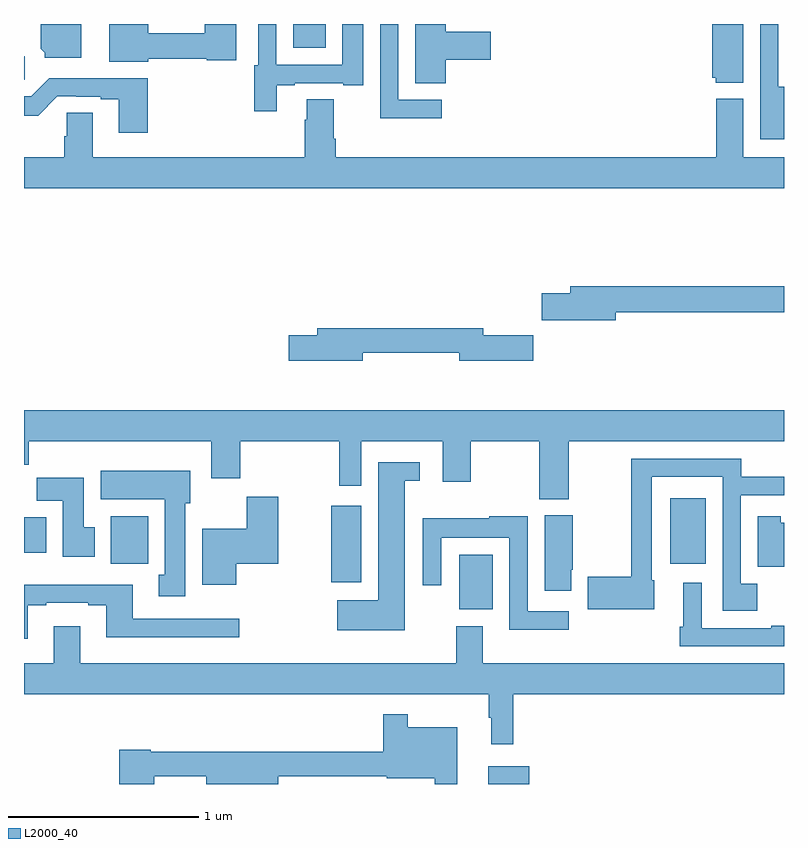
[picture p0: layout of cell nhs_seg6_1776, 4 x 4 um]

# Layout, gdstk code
import gdstk
lib = gdstk.Library(unit=1e-6, precision=1e-09)
def R(c, l, rs):  # rectangles x0, y0, x1, y1
    for r in rs: c.add(gdstk.rectangle(r[:2], r[2:], *l))
def P(c, l, *ps):  # polygons
    for p in ps: c.add(gdstk.Polygon(p, *l))
L2000_40 = (2000, 40)

nhs_seg6_1776 = lib.new_cell('nhs_seg6_1776')
R(nhs_seg6_1776, L2000_40, [(219.443,977.5,219.658,977.593), (219.29,978.419,219.466,978.706), (218.618,978.561,218.776,978.964), (220.4,978.659,220.588,979.003), (217.457,978.66,217.653,978.91), (217,978.716,217.117,978.904), (217,981.207,217.004,981.33), (218.417,981.374,218.587,981.5)])
P(nhs_seg6_1776, L2000_40, [(219.221,981.311),(219.457,981.311),(219.457,981.458),(219.221,981.458),(219.221,981.5),(219.059,981.5),(219.059,981.187),(219.221,981.187)],
  [(218.329,981.177),(218.425,981.177),(218.425,981.189),(218.681,981.189),(218.681,981.177),(218.785,981.177),(218.785,981.5),(218.675,981.5),(218.675,981.285),(218.328,981.285),(218.328,981.5),(218.232,981.5),(218.232,981.282),(218.212,981.282),(218.212,981.042),(218.329,981.042)],
  [(219.199,981.102),(218.97,981.102),(218.97,981.5),(218.874,981.5),(218.874,981.005),(219.199,981.005)],
  [(217.654,981.316),(217.962,981.316),(217.962,981.308),(218.116,981.308),(218.116,981.5),(217.951,981.5),(217.951,981.452),(217.654,981.452),(217.654,981.5),(217.448,981.5),(217.448,981.302),(217.654,981.302)],
  [(220.786,981.5),(220.622,981.5),(220.622,981.216),(220.641,981.216),(220.641,981.191),(220.786,981.191)],
  [(221,981.171),(220.971,981.171),(220.971,981.5),(220.875,981.5),(220.875,980.894),(221,980.894)],
  [(217.3,981.5),(217.088,981.5),(217.088,981.37),(217.11,981.348),(217.11,981.323),(217.3,981.323)],
  [(217.652,981.214),(217.132,981.214),(217.038,981.12),(217,981.12),(217,981.018),(217.074,981.018),(217.176,981.12),(217.276,981.12),(217.276,981.117),(217.403,981.117),(217.403,981.105),(217.499,981.105),(217.499,980.928),(217.652,980.928)],
  [(221,980.8),(220.786,980.8),(220.786,981.106),(220.643,981.106),(220.643,980.8),(218.642,980.8),(218.642,980.896),(218.629,980.896),(218.629,981.104),(218.489,981.104),(218.489,980.996),(218.477,980.996),(218.477,980.8),(217.363,980.8),(217.363,981.032),(217.224,981.032),(217.224,980.91),(217.211,980.91),(217.211,980.8),(217,980.8),(217,980.636),(221,980.636)],
  [(220.114,979.984),(221,979.984),(221,980.12),(219.875,980.12),(219.875,980.084),(219.726,980.084),(219.726,979.942),(220.114,979.942)],
  [(218.782,979.77),(219.29,979.77),(219.29,979.727),(219.679,979.727),(219.679,979.862),(219.418,979.862),(219.418,979.898),(218.543,979.898),(218.543,979.862),(218.394,979.862),(218.394,979.727),(218.782,979.727)],
  [(219.867,979.304),(221,979.304),(221,979.468),(217,979.468),(217,979.18),(217.025,979.18),(217.025,979.304),(217.985,979.304),(217.985,979.11),(218.138,979.11),(218.138,979.304),(218.658,979.304),(218.658,979.071),(218.776,979.071),(218.776,979.304),(219.203,979.304),(219.203,979.092),(219.351,979.092),(219.351,979.304),(219.712,979.304),(219.712,979),(219.867,979)],
  [(220.858,978.553),(220.773,978.553),(220.773,979.02),(221,979.02),(221,979.118),(220.776,979.118),(220.776,979.212),(220.197,979.212),(220.197,978.59),(219.966,978.59),(219.966,978.419),(220.318,978.419),(220.318,978.573),(220.305,978.573),(220.305,979.116),(220.677,979.116),(220.677,978.413),(220.858,978.413)],
  [(219.004,979.097),(219.082,979.097),(219.082,979.194),(218.864,979.194),(218.864,978.466),(218.649,978.466),(218.649,978.308),(219.004,978.308)],
  [(217.849,978.978),(217.876,978.978),(217.876,979.15),(217.403,979.15),(217.403,978.998),(217.742,978.998),(217.742,978.601),(217.709,978.601),(217.709,978.489),(217.849,978.489)],
  [(217.372,978.852),(217.315,978.852),(217.315,979.111),(217.066,979.111),(217.066,978.992),(217.205,978.992),(217.205,978.696),(217.372,978.696)],
  [(218.116,978.659),(218.338,978.659),(218.338,979.012),(218.173,979.012),(218.173,978.844),(217.937,978.844),(217.937,978.548),(218.116,978.548)],
  [(219.88,978.628),(219.888,978.628),(219.888,978.915),(219.74,978.915),(219.74,978.516),(219.88,978.516)],
  [(221,978.874),(220.984,978.874),(220.984,978.91),(220.862,978.91),(220.862,978.644),(221,978.644)],
  [(219.868,978.408),(219.651,978.408),(219.651,978.908),(219.448,978.908),(219.448,978.898),(219.099,978.898),(219.099,978.546),(219.195,978.546),(219.195,978.797),(219.555,978.797),(219.555,978.311),(219.868,978.311)],
  [(221,978.334),(220.934,978.334),(220.934,978.321),(220.566,978.321),(220.566,978.559),(220.469,978.559),(220.469,978.328),(220.45,978.328),(220.45,978.225),(221,978.225)],
  [(217.021,978.441),(217.117,978.441),(217.117,978.453),(217.337,978.453),(217.337,978.441),(217.433,978.441),(217.433,978.272),(218.134,978.272),(218.134,978.369),(217.573,978.369),(217.573,978.55),(217,978.55),(217,978.264),(217.021,978.264)],
  [(219.575,977.972),(221,977.972),(221,978.136),(219.415,978.136),(219.415,978.331),(219.275,978.331),(219.275,978.136),(217.297,978.136),(217.297,978.331),(217.157,978.331),(217.157,978.136),(217,978.136),(217,977.972),(219.447,977.972),(219.447,977.849),(219.458,977.849),(219.458,977.709),(219.575,977.709)],
  [(217.685,977.542),(217.958,977.542),(217.958,977.5),(218.338,977.5),(218.338,977.542),(218.909,977.542),(218.909,977.531),(219.163,977.531),(219.163,977.5),(219.28,977.5),(219.28,977.8),(219.019,977.8),(219.019,977.866),(218.89,977.866),(218.89,977.671),(217.668,977.671),(217.668,977.679),(217.502,977.679),(217.502,977.5),(217.685,977.5)])

lib.write_gds('nhs_seg6_1776.gds')
